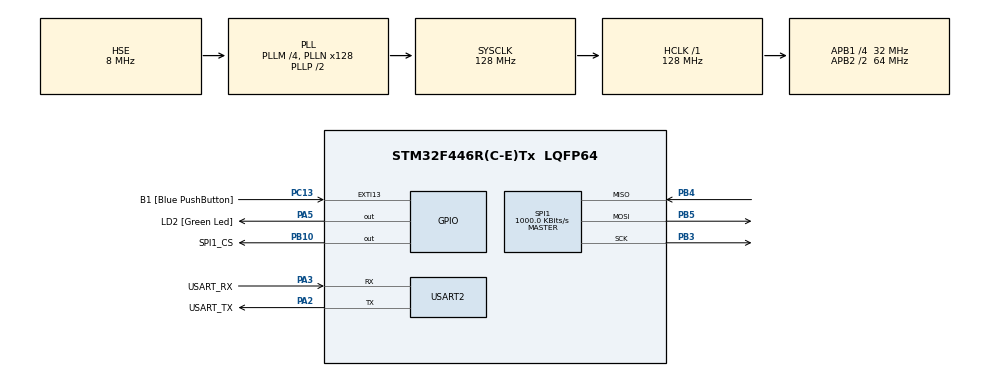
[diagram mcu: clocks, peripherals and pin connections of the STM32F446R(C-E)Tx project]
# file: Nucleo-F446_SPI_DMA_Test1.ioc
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Dma.Request0=SPI1_TX
Dma.Request1=SPI1_RX
Dma.SPI1_RX.1.Direction=DMA_PERIPH_TO_MEMORY
Dma.SPI1_RX.1.FIFOMode=DMA_FIFOMODE_DISABLE
Dma.SPI1_RX.1.Instance=DMA2_Stream0
Dma.SPI1_RX.1.MemDataAlignment=DMA_MDATAALIGN_BYTE
Dma.SPI1_RX.1.MemInc=DMA_MINC_ENABLE
Dma.SPI1_RX.1.Mode=DMA_NORMAL
Dma.SPI1_RX.1.PeriphDataAlignment=DMA_PDATAALIGN_BYTE
Dma.SPI1_RX.1.PeriphInc=DMA_PINC_DISABLE
Dma.SPI1_RX.1.Priority=DMA_PRIORITY_LOW
Dma.SPI1_TX.0.Direction=DMA_MEMORY_TO_PERIPH
Dma.SPI1_TX.0.FIFOMode=DMA_FIFOMODE_DISABLE
Dma.SPI1_TX.0.Instance=DMA2_Stream3
Dma.SPI1_TX.0.MemDataAlignment=DMA_MDATAALIGN_BYTE
Dma.SPI1_TX.0.MemInc=DMA_MINC_ENABLE
Dma.SPI1_TX.0.Mode=DMA_NORMAL
Dma.SPI1_TX.0.PeriphDataAlignment=DMA_PDATAALIGN_BYTE
Dma.SPI1_TX.0.PeriphInc=DMA_PINC_DISABLE
Dma.SPI1_TX.0.Priority=DMA_PRIORITY_LOW
Mcu.Family=STM32F4
Mcu.Name=STM32F446R(C-E)Tx
Mcu.Package=LQFP64
NVIC.DMA2_Stream0_IRQn=true\:0\:0\:false\:false\:true\:false\:true
NVIC.DMA2_Stream3_IRQn=true\:0\:0\:false\:false\:true\:false\:true
NVIC.PriorityGroup=NVIC_PRIORITYGROUP_0
PA13.GPIO_Label=TMS
PA13.Mode=Serial_Wire
PA13.Signal=SYS_JTMS-SWDIO
PA14.GPIO_Label=TCK
PA14.Mode=Serial_Wire
PA14.Signal=SYS_JTCK-SWCLK
PA2.GPIO_Label=USART_TX
PA2.Mode=Asynchronous
PA2.Signal=USART2_TX
PA3.GPIO_Label=USART_RX
PA3.Mode=Asynchronous
PA3.Signal=USART2_RX
PA5.GPIO_Label=LD2 [Green Led]
PA5.Signal=GPIO_Output
PB10.GPIO_Label=SPI1_CS
PB10.GPIO_Speed=GPIO_SPEED_FREQ_MEDIUM
PB10.Signal=GPIO_Output
PB3.Mode=Full_Duplex_Master
PB3.Signal=SPI1_SCK
PB4.Mode=Full_Duplex_Master
PB4.Signal=SPI1_MISO
PB5.Mode=Full_Duplex_Master
PB5.Signal=SPI1_MOSI
PC13.GPIO_Label=B1 [Blue PushButton]
PC13.GPIO_ModeDefaultEXTI=GPIO_MODE_IT_FALLING
PC13.Signal=GPXTI13
PC14-OSC32_IN.Mode=LSE-External-Oscillator
PC14-OSC32_IN.Signal=RCC_OSC32_IN
PC15-OSC32_OUT.Mode=LSE-External-Oscillator
PC15-OSC32_OUT.Signal=RCC_OSC32_OUT
PH0-OSC_IN.Mode=HSE-External-Oscillator
PH0-OSC_IN.Signal=RCC_OSC_IN
PH1-OSC_OUT.Mode=HSE-External-Oscillator
PH1-OSC_OUT.Signal=RCC_OSC_OUT
ProjectManager.HeapSize=0x200
ProjectManager.StackSize=0x400
ProjectManager.TargetToolchain=SW4STM32
RCC.48MHZClocksFreq_Value=84000000
RCC.AHBFreq_Value=128000000
RCC.APB1CLKDivider=RCC_HCLK_DIV4
RCC.APB1Freq_Value=32000000
RCC.APB1TimFreq_Value=64000000
RCC.APB2CLKDivider=RCC_HCLK_DIV2
RCC.APB2Freq_Value=64000000
RCC.APB2TimFreq_Value=128000000
RCC.CortexFreq_Value=128000000
RCC.FLatency-AdvancedSettings=FLASH_LATENCY_4
RCC.HCLKFreq_Value=128000000
RCC.HSE_VALUE=8000000
RCC.HSI_VALUE=16000000
RCC.PLLM=4
RCC.PLLN=128
RCC.PLLSourceVirtual=RCC_PLLSOURCE_HSE
RCC.SYSCLKFreq_VALUE=128000000
RCC.SYSCLKSource=RCC_SYSCLKSOURCE_PLLCLK
RCC.USBFreq_Value=128000000
RCC.VCOOutputFreq_Value=256000000
SPI1.BaudRatePrescaler=SPI_BAUDRATEPRESCALER_64
SPI1.CalculateBaudRate=1000.0 KBits/s
SPI1.Direction=SPI_DIRECTION_2LINES
SPI1.Mode=SPI_MODE_MASTER
SPI1.VirtualType=VM_MASTER
USART2.VirtualMode=VM_ASYNC
board=NUCLEO-F446RE

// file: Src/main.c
/* USER CODE BEGIN Header */
/**
  ******************************************************************************
  * @file           : main.c
  * @brief          : Main program body
  ******************************************************************************
  * @attention
  *
  * <h2><center>&copy; Copyright (c) 2019 STMicroelectronics.
  * All rights reserved.</center></h2>
  *
  * This software component is licensed by ST under BSD 3-Clause license,
  * the "License"; You may not use this file except in compliance with the
  * License. You may obtain a copy of the License at:
  *                        opensource.org/licenses/BSD-3-Clause
  *
  ******************************************************************************
  */
/* USER CODE END Header */

#include "main.h"

/* USER CODE BEGIN Includes */
#include <stdio.h>
/* USER CODE END Includes */

/* USER CODE BEGIN PD */
#define BUFFERSIZE	(2)
enum {
	TRANSFER_WAIT,
	TRANSFER_COMPLETE,
	TRANSFER_ERROR
};
/* USER CODE END PD */

SPI_HandleTypeDef hspi1;
DMA_HandleTypeDef hdma_spi1_tx;
DMA_HandleTypeDef hdma_spi1_rx;

UART_HandleTypeDef huart2;

/* USER CODE BEGIN PV */
/* transfer state */
__IO uint32_t wTransferState = TRANSFER_WAIT;
/* USER CODE END PV */

void SystemClock_Config(void);
static void MX_GPIO_Init(void);
static void MX_DMA_Init(void);
static void MX_SPI1_Init(void);
static void MX_USART2_UART_Init(void);

/* USER CODE BEGIN 0 */
#ifdef __GNUC__
#define PUTCHAR_PROTOTYPE int __io_putchar(int ch)
#else
#define PUTCHAR_PROTOTYPE int fputc(int ch, FILE *f)
#endif
PUTCHAR_PROTOTYPE
{
 HAL_UART_Transmit(&huart2, (uint8_t *)&ch, 1, 0xFFFF);
 return ch;
}
/* USER CODE END 0 */

int main(void)
{

  /* MCU Configuration--------------------------------------------------------*/

  /* Reset of all peripherals, Initializes the Flash interface and the Systick. */
  HAL_Init();

  /* Configure the system clock */
  SystemClock_Config();

  /* Initialize all configured peripherals */
  MX_GPIO_Init();
  MX_DMA_Init();
  MX_SPI1_Init();
  MX_USART2_UART_Init();

  /* Infinite loop */
  while (1)
  {

    /* USER CODE BEGIN 3 */
    uint8_t aTxBuffer[BUFFERSIZE] = { 0x55, 0xAA };
	uint8_t aRxBuffer[BUFFERSIZE];
	wTransferState = TRANSFER_WAIT;

    /*##-2- Start the Full Duplex Communication process ########################*/
    /* While the SPI in TransmitReceive process, user can transmit data through
	   "aTxBuffer" buffer & receive data through "aRxBuffer" */
	HAL_GPIO_WritePin(SPI1_CS_GPIO_Port, SPI1_CS_Pin, GPIO_PIN_RESET);
    if(HAL_SPI_TransmitReceive_DMA(&hspi1, (uint8_t*)aTxBuffer, (uint8_t *)aRxBuffer, BUFFERSIZE) != HAL_OK)
    {
	  /* Transfer error in transmission process */
	  Error_Handler();
    }
	HAL_GPIO_WritePin(SPI1_CS_GPIO_Port, SPI1_CS_Pin, GPIO_PIN_SET);

    /*##-3- Wait for the end of the transfer ###################################*/
    /*  Before starting a new communication transfer, you must wait the callback call
	    to get the transfer complete confirmation or an error detection.
	    For simplicity reasons, this example is just waiting till the end of the
	    transfer, but application may perform other tasks while transfer operation
	    is ongoing. */
    while (wTransferState == TRANSFER_WAIT)
    {
    }

    printf("SPI RX: %d\t%d\r\n", aRxBuffer[0], aRxBuffer[1]);
  }
  /* USER CODE END 3 */
}

void SystemClock_Config(void)
{
  RCC_OscInitTypeDef RCC_OscInitStruct = {0};
  RCC_ClkInitTypeDef RCC_ClkInitStruct = {0};

  /** Configure the main internal regulator output voltage
  */
  __HAL_RCC_PWR_CLK_ENABLE();
  __HAL_PWR_VOLTAGESCALING_CONFIG(PWR_REGULATOR_VOLTAGE_SCALE2);
  /** Initializes the CPU, AHB and APB busses clocks
  */
  RCC_OscInitStruct.OscillatorType = RCC_OSCILLATORTYPE_HSE;
  RCC_OscInitStruct.HSEState = RCC_HSE_ON;
  RCC_OscInitStruct.PLL.PLLState = RCC_PLL_ON;
  RCC_OscInitStruct.PLL.PLLSource = RCC_PLLSOURCE_HSE;
  RCC_OscInitStruct.PLL.PLLM = 4;
  RCC_OscInitStruct.PLL.PLLN = 128;
  RCC_OscInitStruct.PLL.PLLP = RCC_PLLP_DIV2;
  RCC_OscInitStruct.PLL.PLLQ = 2;
  RCC_OscInitStruct.PLL.PLLR = 2;
  if (HAL_RCC_OscConfig(&RCC_OscInitStruct) != HAL_OK)
  {
    Error_Handler();
  }
  /** Initializes the CPU, AHB and APB busses clocks
  */
  RCC_ClkInitStruct.ClockType = RCC_CLOCKTYPE_HCLK|RCC_CLOCKTYPE_SYSCLK
                              |RCC_CLOCKTYPE_PCLK1|RCC_CLOCKTYPE_PCLK2;
  RCC_ClkInitStruct.SYSCLKSource = RCC_SYSCLKSOURCE_PLLCLK;
  RCC_ClkInitStruct.AHBCLKDivider = RCC_SYSCLK_DIV1;
  RCC_ClkInitStruct.APB1CLKDivider = RCC_HCLK_DIV4;
  RCC_ClkInitStruct.APB2CLKDivider = RCC_HCLK_DIV2;

  if (HAL_RCC_ClockConfig(&RCC_ClkInitStruct, FLASH_LATENCY_4) != HAL_OK)
  {
    Error_Handler();
  }
}

static void MX_SPI1_Init(void)
{

  /* SPI1 parameter configuration*/
  hspi1.Instance = SPI1;
  hspi1.Init.Mode = SPI_MODE_MASTER;
  hspi1.Init.Direction = SPI_DIRECTION_2LINES;
  hspi1.Init.DataSize = SPI_DATASIZE_8BIT;
  hspi1.Init.CLKPolarity = SPI_POLARITY_LOW;
  hspi1.Init.CLKPhase = SPI_PHASE_1EDGE;
  hspi1.Init.NSS = SPI_NSS_SOFT;
  hspi1.Init.BaudRatePrescaler = SPI_BAUDRATEPRESCALER_64;
  hspi1.Init.FirstBit = SPI_FIRSTBIT_MSB;
  hspi1.Init.TIMode = SPI_TIMODE_DISABLE;
  hspi1.Init.CRCCalculation = SPI_CRCCALCULATION_DISABLE;
  hspi1.Init.CRCPolynomial = 10;
  if (HAL_SPI_Init(&hspi1) != HAL_OK)
  {
    Error_Handler();
  }

}

static void MX_USART2_UART_Init(void)
{

  huart2.Instance = USART2;
  huart2.Init.BaudRate = 115200;
  huart2.Init.WordLength = UART_WORDLENGTH_8B;
  huart2.Init.StopBits = UART_STOPBITS_1;
  huart2.Init.Parity = UART_PARITY_NONE;
  huart2.Init.Mode = UART_MODE_TX_RX;
  huart2.Init.HwFlowCtl = UART_HWCONTROL_NONE;
  huart2.Init.OverSampling = UART_OVERSAMPLING_16;
  if (HAL_UART_Init(&huart2) != HAL_OK)
  {
    Error_Handler();
  }

}

static void MX_DMA_Init(void)
{
  /* DMA controller clock enable */
  __HAL_RCC_DMA2_CLK_ENABLE();

  /* DMA interrupt init */
  /* DMA2_Stream0_IRQn interrupt configuration */
  HAL_NVIC_SetPriority(DMA2_Stream0_IRQn, 0, 0);
  HAL_NVIC_EnableIRQ(DMA2_Stream0_IRQn);
  /* DMA2_Stream3_IRQn interrupt configuration */
  HAL_NVIC_SetPriority(DMA2_Stream3_IRQn, 0, 0);
  HAL_NVIC_EnableIRQ(DMA2_Stream3_IRQn);

}

static void MX_GPIO_Init(void)
{
  GPIO_InitTypeDef GPIO_InitStruct = {0};

  /* GPIO Ports Clock Enable */
  __HAL_RCC_GPIOC_CLK_ENABLE();
  __HAL_RCC_GPIOH_CLK_ENABLE();
  __HAL_RCC_GPIOA_CLK_ENABLE();
  __HAL_RCC_GPIOB_CLK_ENABLE();

  /*Configure GPIO pin Output Level */
  HAL_GPIO_WritePin(LD2_GPIO_Port, LD2_Pin, GPIO_PIN_RESET);

  /*Configure GPIO pin Output Level */
  HAL_GPIO_WritePin(SPI1_CS_GPIO_Port, SPI1_CS_Pin, GPIO_PIN_RESET);

  /*Configure GPIO pin : B1_Pin */
  GPIO_InitStruct.Pin = B1_Pin;
  GPIO_InitStruct.Mode = GPIO_MODE_IT_FALLING;
  GPIO_InitStruct.Pull = GPIO_NOPULL;
  HAL_GPIO_Init(B1_GPIO_Port, &GPIO_InitStruct);

  /*Configure GPIO pin : LD2_Pin */
  GPIO_InitStruct.Pin = LD2_Pin;
  GPIO_InitStruct.Mode = GPIO_MODE_OUTPUT_PP;
  GPIO_InitStruct.Pull = GPIO_NOPULL;
  GPIO_InitStruct.Speed = GPIO_SPEED_FREQ_LOW;
  HAL_GPIO_Init(LD2_GPIO_Port, &GPIO_InitStruct);

  /*Configure GPIO pin : SPI1_CS_Pin */
  GPIO_InitStruct.Pin = SPI1_CS_Pin;
  GPIO_InitStruct.Mode = GPIO_MODE_OUTPUT_PP;
  GPIO_InitStruct.Pull = GPIO_NOPULL;
  GPIO_InitStruct.Speed = GPIO_SPEED_FREQ_MEDIUM;
  HAL_GPIO_Init(SPI1_CS_GPIO_Port, &GPIO_InitStruct);

}

/* USER CODE BEGIN 4 */
/**
  * @brief  TxRx Transfer completed callback.
  * @param  hspi: SPI handle
  * @note   This example shows a simple way to report end of DMA TxRx transfer, and
  *         you can add your own implementation.
  * @retval None
  */
void HAL_SPI_TxRxCpltCallback(SPI_HandleTypeDef *hspi)
{
  wTransferState = TRANSFER_COMPLETE;
}

/**
  * @brief  SPI error callbacks.
  * @param  hspi: SPI handle
  * @note   This example shows a simple way to report transfer error, and you can
  *         add your own implementation.
  * @retval None
  */
void HAL_SPI_ErrorCallback(SPI_HandleTypeDef *hspi)
{
  wTransferState = TRANSFER_ERROR;
}
/* USER CODE END 4 */

void Error_Handler(void)
{
}

/************************ (C) COPYRIGHT STMicroelectronics *****END OF FILE****/
